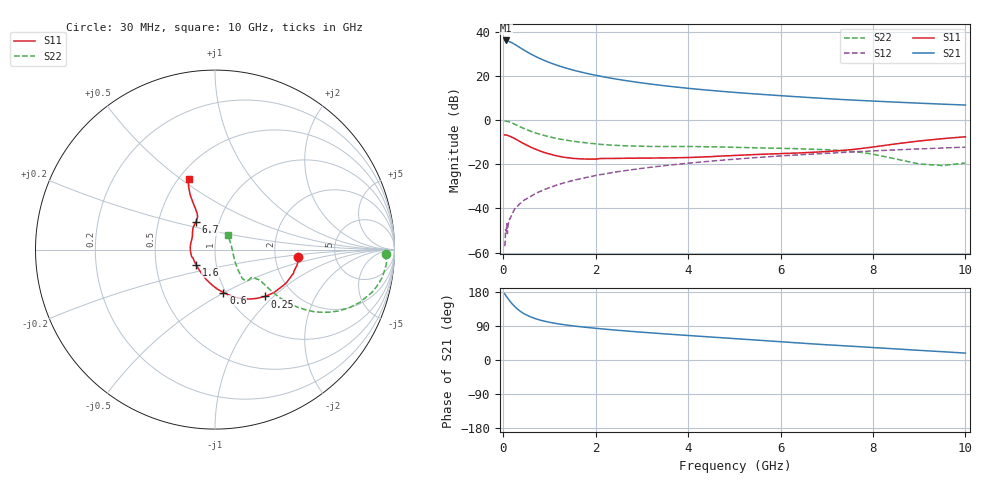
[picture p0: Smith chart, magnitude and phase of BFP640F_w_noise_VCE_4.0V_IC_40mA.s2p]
! Infineon Technologies  Discrete & RF Semiconductors
! BFP640F
! VCE =  4.0 V,  IC =  40 mA
! Common Emitter S-Parameters:  Apr 2013
# GHz  S  MA  R  50
!  f  S11  S21  S12  S22
! GHz  MAG  ANG  MAG  ANG  MAG  ANG  MAG  ANG
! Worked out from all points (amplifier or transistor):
!   99 points, 30 MHz to 10 GHz, reference 50 ohm
!   highest |S21| = 36.1 dB at 50 MHz (marker M1)
!   |S21| within 3 dB of that: start of sweep to 343.7 MHz
!   unconditionally stable (mu >= 1): 1.608 GHz to end of sweep
!   at 350 MHz: K = 0.57, MSG = 35.5 dB, |S12| = -38.0 dB
!   at 3.5 GHz: K = 1.06, MAG = 16.6 dB, |S12| = -20.6 dB
!   at 10 GHz: K = 1.04, MAG = 8.3 dB, |S12| = -12.2 dB
!   lowest NFmin = 1.22 dB at 450 MHz
!   S11 on the Smith chart (normalised r, x): 30 MHz: 2.70, -0.30; 250 MHz: 1.45, -0.89; 600 MHz: 0.97, -0.50; 1.6 GHz: 0.80, -0.14; 6.7 GHz: 0.77, +0.25; 10 GHz: 0.56, +0.54
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0.03  0.4655 -5.4  64.1 174.7  0.0014 63.2  0.9509 -1.5
0.05  0.4665 -9.1  64.11 171.3  0.0033 92.2  0.9589 -4.1
0.11  0.4467 -20.8  61.77 160.9  0.0045 75.1  0.9318 -11.6
0.15  0.4301 -27.6  59.41 154.6  0.0059 80.3  0.9015 -15.7
0.2  0.4071 -35.8  55.97 147.3  0.0078 74.8  0.8582 -20.1
0.25  0.3826 -43.0  52.22 140.9  0.0098 73.6  0.811 -23.7
0.3  0.3577 -49.5  48.54 135.2  0.011 74.6  0.7653 -26.6
0.4  0.312 -61.0  41.74 126.0  0.0137 74.4  0.6833 -30.7
0.5  0.275 -70.4  36.07 119.0  0.0165 74.0  0.616 -33.3
0.6  0.2438 -79.0  31.5 113.4  0.019 74.5  0.5606 -34.9
0.7  0.2204 -86.6  27.8 109.0  0.0218 73.9  0.5153 -35.9
0.8  0.2 -93.9  24.78 105.3  0.0244 74.1  0.4781 -36.4
1  0.1718 -107.2  20.27 99.6  0.0296 73.7  0.4201 -36.5
1.3  0.1454 -125.8  15.82 93.4  0.0376 73.1  0.3621 -35.8
1.6  0.1346 -141.7  12.95 88.7  0.0455 72.4  0.3254 -35.0
1.7  0.1329 -146.5  12.21 87.4  0.0478 71.9  0.3149 -34.6
2.4  0.1363 -172.1  8.716 79.2  0.066 68.7  0.2707 -35.6
3.4  0.14 163.7  6.191 69.8  0.091 63.8  0.254 -39.2
5.1  0.1605 141.1  4.196 55.7  0.1331 55.0  0.242 -44.8
6.7  0.1876 124.7  3.227 42.5  0.1709 45.9  0.22 -46.6
8.5  0.2914 115.1  2.567 29.2  0.2129 35.6  0.1323 -31.8
10  0.4212 110.5  2.205 18.2  0.2455 26.9  0.1069 48.2
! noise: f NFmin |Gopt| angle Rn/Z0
0.45  1.22  0.25  -172  0.08
0.9  1.22  0.26  -169  0.08
1.5  1.25  0.28  -162  0.09
1.9  1.28  0.29  -155  0.1
2.4  1.3  0.3  -146  0.1
3.5  1.38  0.31  -135  0.12
5.5  1.59  0.33  -117  0.16
10  2.07  0.48  -81  0.56
